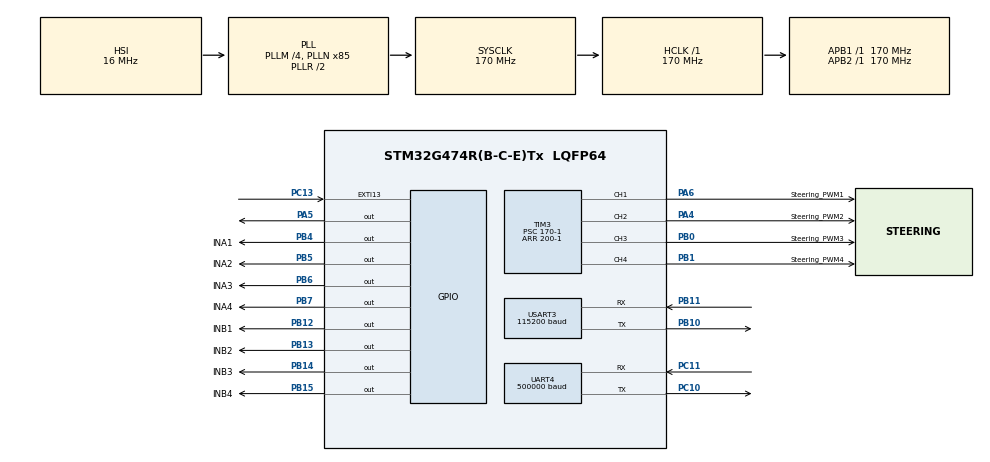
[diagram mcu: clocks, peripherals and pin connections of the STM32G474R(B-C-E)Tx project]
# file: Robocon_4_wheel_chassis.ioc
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Mcu.Family=STM32G4
Mcu.Name=STM32G474R(B-C-E)Tx
Mcu.Package=LQFP64
NUCLEO-G474RE.BUTTON=1
NUCLEO-G474RE.Bsp_Common_DEMO=true
NUCLEO-G474RE.LD2=true
NUCLEO-G474RE.VCP=true
NVIC.EXTI15_10_IRQn=true\:0\:0\:false\:false\:true\:true\:true\:true
NVIC.PriorityGroup=NVIC_PRIORITYGROUP_4
PA13.GPIO_Label=T_SWDIO
PA13.Signal=SYS_JTMS-SWDIO
PA14.GPIO_Label=T_SWCLK
PA14.Signal=SYS_JTCK-SWCLK
PA2.Signal=LPUART1_TX
PA3.Signal=LPUART1_RX
PA4.GPIO_Label=Steering_PWM2
PA4.Signal=S_TIM3_CH2
PA5.Signal=GPIO_Output
PA6.GPIO_Label=Steering_PWM1
PA6.Signal=S_TIM3_CH1
PB0.GPIO_Label=Steering_PWM3
PB0.Signal=S_TIM3_CH3
PB1.GPIO_Label=Steering_PWM4
PB1.Signal=S_TIM3_CH4
PB10.Mode=Asynchronous
PB10.Signal=USART3_TX
PB11.Mode=Asynchronous
PB11.Signal=USART3_RX
PB12.GPIO_Label=INB1
PB12.Signal=GPIO_Output
PB13.GPIO_Label=INB2
PB13.Signal=GPIO_Output
PB14.GPIO_Label=INB3
PB14.Signal=GPIO_Output
PB15.GPIO_Label=INB4
PB15.Signal=GPIO_Output
PB3.GPIO_Label=T_SWO
PB3.Signal=SYS_JTDO-SWO
PB4.GPIO_Label=INA1
PB4.Signal=GPIO_Output
PB5.GPIO_Label=INA2
PB5.Signal=GPIO_Output
PB6.GPIO_Label=INA3
PB6.Signal=GPIO_Output
PB7.GPIO_Label=INA4
PB7.Signal=GPIO_Output
PC10.Mode=Asynchronous
PC10.Signal=UART4_TX
PC11.Mode=Asynchronous
PC11.Signal=UART4_RX
PC13.Signal=GPXTI13
PC14-OSC32_IN.GPIO_Label=RCC_OSC32_IN
PC14-OSC32_IN.Signal=RCC_OSC32_IN
PC15-OSC32_OUT.GPIO_Label=RCC_OSC32_OUT
PC15-OSC32_OUT.Signal=RCC_OSC32_OUT
PF0-OSC_IN.GPIO_Label=RCC_OSC_IN
PF0-OSC_IN.Signal=RCC_OSC_IN
PF1-OSC_OUT.GPIO_Label=RCC_OSC_OUT
PF1-OSC_OUT.Signal=RCC_OSC_OUT
ProjectManager.HeapSize=0x200
ProjectManager.StackSize=0x400
ProjectManager.TargetToolchain=STM32CubeIDE
RCC.ADC12Freq_Value=170000000
RCC.ADC345Freq_Value=170000000
RCC.AHBFreq_Value=170000000
RCC.APB1Freq_Value=170000000
RCC.APB1TimFreq_Value=170000000
RCC.APB2Freq_Value=170000000
RCC.APB2TimFreq_Value=170000000
RCC.CortexFreq_Value=170000000
RCC.EXTERNAL_CLOCK_VALUE=12288000
RCC.HCLKFreq_Value=170000000
RCC.HSE_VALUE=24000000
RCC.HSI48_VALUE=48000000
RCC.HSI_VALUE=16000000
RCC.LSE_VALUE=32768
RCC.PLLM=RCC_PLLM_DIV4
RCC.PLLN=85
RCC.RTCClockSelection=RCC_RTCCLKSOURCE_LSE
RCC.SYSCLKFreq_VALUE=170000000
RCC.SYSCLKSource=RCC_SYSCLKSOURCE_PLLCLK
RCC.USBFreq_Value=170000000
RCC.VCOOutputFreq_Value=340000000
SH.S_TIM3_CH1.0=TIM3_CH1,PWM Generation1 CH1
SH.S_TIM3_CH2.0=TIM3_CH2,PWM Generation2 CH2
SH.S_TIM3_CH3.0=TIM3_CH3,PWM Generation3 CH3
SH.S_TIM3_CH4.0=TIM3_CH4,PWM Generation4 CH4
TIM3.Channel-PWM\ Generation1\ CH1=TIM_CHANNEL_1
TIM3.Channel-PWM\ Generation2\ CH2=TIM_CHANNEL_2
TIM3.Channel-PWM\ Generation3\ CH3=TIM_CHANNEL_3
TIM3.Channel-PWM\ Generation4\ CH4=TIM_CHANNEL_4
TIM3.PeriodNoDither=200-1
TIM3.Prescaler=170-1
UART4.BaudRate=500000
USART3.BaudRate=115200
USART3.VirtualMode-Asynchronous=VM_ASYNC
VP_NUCLEO-G474RE_VS_BSP_COMMON.Mode=COMMON
VP_SYS_VS_DBSignals.Mode=DisableDeadBatterySignals
VP_TIM3_VS_ClockSourceINT.Mode=Internal
board=NUCLEO-G474RE

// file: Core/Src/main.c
/* USER CODE BEGIN Header */
/**
  ******************************************************************************
  * @file           : main.c
  * @brief          : Main program body
  ******************************************************************************
  * @attention
  *
  * Copyright (c) 2025 STMicroelectronics.
  * All rights reserved.
  *
  * This software is licensed under terms that can be found in the LICENSE file
  * in the root directory of this software component.
  * If no LICENSE file comes with this software, it is provided AS-IS.
  *
  ******************************************************************************
  */
/* USER CODE END Header */
#include "main.h"

/* USER CODE BEGIN Includes */
#include "configuration.h"
#include "chassis_kinematics.h"
#include "joystick.h"
#include <stdbool.h>
#include <math.h>
/* USER CODE END Includes */

/* USER CODE BEGIN PD */
#define JOYSTICK_DEADZONE 0.2f      // Joystick deadzone threshold

#define SMOOTHING_FACTOR 0.4f    // Increased for faster response 0.6 bolgoj uzeh
#define MAX_ACCELERATION 0.15f   // Increased for faster acceleration 0.1 buulgaj uzeh
#define DECELERATION_FACTOR 0.3f // 0.2 bolgoj uzeh
/* USER CODE END PD */

COM_InitTypeDef BspCOMInit;
__IO uint32_t BspButtonState = BUTTON_RELEASED;
TIM_HandleTypeDef htim3;

UART_HandleTypeDef huart4;
UART_HandleTypeDef huart3;

/* USER CODE BEGIN PV */
float xSpeed = 0.0f, ySpeed = 0.0f, rot = 0.0f;
float target_xSpeed = 0.0f, target_ySpeed = 0.0f, target_rot = 0.0f;
float last_xSpeed = 0.0f, last_ySpeed = 0.0f, last_rot = 0.0f;
uint32_t lastJoystickUpdate = 0;
RobotVelocity robot_vel = {0};
WheelPWM wheel_pwm = {0};

bool lastButtonState = false;
bool buttonState = false;
/* USER CODE END PV */

void SystemClock_Config(void);
static void MX_GPIO_Init(void);
static void MX_TIM3_Init(void);
static void MX_UART4_Init(void);
static void MX_USART3_UART_Init(void);
/* USER CODE BEGIN PFP */
float smoothValue(float current, float target, float smoothing, float maxAccel);
/* USER CODE END PFP */

int main(void)
{

  /* MCU Configuration--------------------------------------------------------*/

  /* Reset of all peripherals, Initializes the Flash interface and the Systick. */
  HAL_Init();

  /* USER CODE BEGIN Init */
  JOYSTICK_Init(&huart4);  // Pass your UART handle
  JOYSTICK_SetTimeout(100); // Optional: Set custom timeout
  /* USER CODE END Init */

  /* Configure the system clock */
  SystemClock_Config();

  /* Initialize all configured peripherals */
  MX_GPIO_Init();
  MX_TIM3_Init();
  MX_UART4_Init();
  MX_USART3_UART_Init();
  /* USER CODE BEGIN 2 */
  HAL_TIM_PWM_Start(&htim3, TIM_CHANNEL_1);
  HAL_TIM_PWM_Start(&htim3, TIM_CHANNEL_2);
  HAL_TIM_PWM_Start(&htim3, TIM_CHANNEL_3);
  HAL_TIM_PWM_Start(&htim3, TIM_CHANNEL_4);
  /* USER CODE END 2 */

  /* Initialize led */
  BSP_LED_Init(LED_GREEN);

  /* Initialize USER push-button, will be used to trigger an interrupt each time it's pressed.*/
  BSP_PB_Init(BUTTON_USER, BUTTON_MODE_EXTI);

  /* Initialize COM1 port (115200, 8 bits (7-bit data + 1 stop bit), no parity */
  BspCOMInit.BaudRate   = 115200;
  BspCOMInit.WordLength = COM_WORDLENGTH_8B;
  BspCOMInit.StopBits   = COM_STOPBITS_1;
  BspCOMInit.Parity     = COM_PARITY_NONE;
  BspCOMInit.HwFlowCtl  = COM_HWCONTROL_NONE;
  if (BSP_COM_Init(COM1, &BspCOMInit) != BSP_ERROR_NONE)
  {
    Error_Handler();
  }

  /* USER CODE BEGIN BSP */

  /* -- Sample board code to send message over COM1 port ---- */
  printf("Robocon Subsystem_1 4 Wheel Chassis Initialized\n\r");

  /* -- Sample board code to switch on led ---- */
  BSP_LED_On(LED_GREEN);

  /* USER CODE END BSP */

  /* Infinite loop */
  /* USER CODE BEGIN WHILE */
  while (1)
  {

    /* -- Sample board code for User push-button in interrupt mode ---- */
    if (BspButtonState == BUTTON_PRESSED)
    {
      /* Update button state */
      BspButtonState = BUTTON_RELEASED;
      /* -- Sample board code to toggle led ---- */
      BSP_LED_Toggle(LED_GREEN);

      /* ..... Perform your action ..... */
    }

    JOYSTICK_Process();

    // Check for joystick timeout or invalid data
    if (HAL_GetTick() - lastJoystickUpdate > JOYSTICK_TIMEOUT_MS) {
        // Gradually reduce speed when joystick times out
        target_xSpeed = 0.0f;
        target_ySpeed = 0.0f;
        target_rot = 0.0f;

        // Apply brake if no valid data for extended period
        if (HAL_GetTick() - lastJoystickUpdate > JOYSTICK_TIMEOUT_MS * 2) {
            applyBrake();
        }
    }
    // Normal joystick control code
    else if (JOYSTICK_NewDataAvailable()) {
        JoystickData data = JOYSTICK_GetData();
        lastJoystickUpdate = HAL_GetTick();

        // Scale joystick inputs to [-1, 1] range
        target_xSpeed = -(float)data.axisX / 512.0f;
        target_ySpeed = (float)data.axisY / 512.0f;
        target_rot = -(float)data.axisRX / 512.0f;

        // Apply deadzone
        if (fabsf(target_xSpeed) < JOYSTICK_DEADZONE) target_xSpeed = 0;
        if (fabsf(target_ySpeed) < JOYSTICK_DEADZONE) target_ySpeed = 0;
        if (fabsf(target_rot) < JOYSTICK_DEADZONE) target_rot = 0;

//        // Assume we toggle using button bit 0.
//        bool currentButtonState = (data.buttons & 0x0010) != 0;
//
//        // Detect rising edge: current is pressed and last was not.
//        if (currentButtonState && !lastButtonState && !buttonState) {  // Only allow new operation if not already in progress
//        	buttonState = true;  // Set state immediately to prevent re-entry
//
//            buttonState = false;  // Reset state after operation complete
//        } else {
//        }
//
//        // Update last button state for edge detection
//        lastButtonState = currentButtonState;
    }

    // Smooth the speed changes
    xSpeed = smoothValue(xSpeed, target_xSpeed, SMOOTHING_FACTOR, MAX_ACCELERATION);
    ySpeed = smoothValue(ySpeed, target_ySpeed, SMOOTHING_FACTOR, MAX_ACCELERATION);
    rot = smoothValue(rot, target_rot, SMOOTHING_FACTOR, MAX_ACCELERATION);

    // Set robot velocity
    robot_vel.vx = rot;
    robot_vel.vy = ySpeed;
    robot_vel.omega = xSpeed;

    // Calculate and set PWM values
    calculateWheelPWM(&robot_vel, &wheel_pwm);
//    setMotorPWM(&wheel_pwm);

    HAL_Delay(10);  // Control loop delay
    /* USER CODE END WHILE */

  }
}

void SystemClock_Config(void)
{
  RCC_OscInitTypeDef RCC_OscInitStruct = {0};
  RCC_ClkInitTypeDef RCC_ClkInitStruct = {0};

  /** Configure the main internal regulator output voltage
  */
  HAL_PWREx_ControlVoltageScaling(PWR_REGULATOR_VOLTAGE_SCALE1_BOOST);

  /** Initializes the RCC Oscillators according to the specified parameters
  * in the RCC_OscInitTypeDef structure.
  */
  RCC_OscInitStruct.OscillatorType = RCC_OSCILLATORTYPE_HSI;
  RCC_OscInitStruct.HSIState = RCC_HSI_ON;
  RCC_OscInitStruct.HSICalibrationValue = RCC_HSICALIBRATION_DEFAULT;
  RCC_OscInitStruct.PLL.PLLState = RCC_PLL_ON;
  RCC_OscInitStruct.PLL.PLLSource = RCC_PLLSOURCE_HSI;
  RCC_OscInitStruct.PLL.PLLM = RCC_PLLM_DIV4;
  RCC_OscInitStruct.PLL.PLLN = 85;
  RCC_OscInitStruct.PLL.PLLP = RCC_PLLP_DIV2;
  RCC_OscInitStruct.PLL.PLLQ = RCC_PLLQ_DIV2;
  RCC_OscInitStruct.PLL.PLLR = RCC_PLLR_DIV2;
  if (HAL_RCC_OscConfig(&RCC_OscInitStruct) != HAL_OK)
  {
    Error_Handler();
  }

  /** Initializes the CPU, AHB and APB buses clocks
  */
  RCC_ClkInitStruct.ClockType = RCC_CLOCKTYPE_HCLK|RCC_CLOCKTYPE_SYSCLK
                              |RCC_CLOCKTYPE_PCLK1|RCC_CLOCKTYPE_PCLK2;
  RCC_ClkInitStruct.SYSCLKSource = RCC_SYSCLKSOURCE_PLLCLK;
  RCC_ClkInitStruct.AHBCLKDivider = RCC_SYSCLK_DIV1;
  RCC_ClkInitStruct.APB1CLKDivider = RCC_HCLK_DIV1;
  RCC_ClkInitStruct.APB2CLKDivider = RCC_HCLK_DIV1;

  if (HAL_RCC_ClockConfig(&RCC_ClkInitStruct, FLASH_LATENCY_4) != HAL_OK)
  {
    Error_Handler();
  }
}

static void MX_TIM3_Init(void)
{

  TIM_ClockConfigTypeDef sClockSourceConfig = {0};
  TIM_MasterConfigTypeDef sMasterConfig = {0};
  TIM_OC_InitTypeDef sConfigOC = {0};

  htim3.Instance = TIM3;
  htim3.Init.Prescaler = 170-1;
  htim3.Init.CounterMode = TIM_COUNTERMODE_UP;
  htim3.Init.Period = 199;
  htim3.Init.ClockDivision = TIM_CLOCKDIVISION_DIV1;
  htim3.Init.AutoReloadPreload = TIM_AUTORELOAD_PRELOAD_DISABLE;
  if (HAL_TIM_Base_Init(&htim3) != HAL_OK)
  {
    Error_Handler();
  }
  sClockSourceConfig.ClockSource = TIM_CLOCKSOURCE_INTERNAL;
  if (HAL_TIM_ConfigClockSource(&htim3, &sClockSourceConfig) != HAL_OK)
  {
    Error_Handler();
  }
  if (HAL_TIM_PWM_Init(&htim3) != HAL_OK)
  {
    Error_Handler();
  }
  sMasterConfig.MasterOutputTrigger = TIM_TRGO_RESET;
  sMasterConfig.MasterSlaveMode = TIM_MASTERSLAVEMODE_DISABLE;
  if (HAL_TIMEx_MasterConfigSynchronization(&htim3, &sMasterConfig) != HAL_OK)
  {
    Error_Handler();
  }
  sConfigOC.OCMode = TIM_OCMODE_PWM1;
  sConfigOC.Pulse = 0;
  sConfigOC.OCPolarity = TIM_OCPOLARITY_HIGH;
  sConfigOC.OCFastMode = TIM_OCFAST_DISABLE;
  if (HAL_TIM_PWM_ConfigChannel(&htim3, &sConfigOC, TIM_CHANNEL_1) != HAL_OK)
  {
    Error_Handler();
  }
  if (HAL_TIM_PWM_ConfigChannel(&htim3, &sConfigOC, TIM_CHANNEL_2) != HAL_OK)
  {
    Error_Handler();
  }
  if (HAL_TIM_PWM_ConfigChannel(&htim3, &sConfigOC, TIM_CHANNEL_3) != HAL_OK)
  {
    Error_Handler();
  }
  if (HAL_TIM_PWM_ConfigChannel(&htim3, &sConfigOC, TIM_CHANNEL_4) != HAL_OK)
  {
    Error_Handler();
  }
  HAL_TIM_MspPostInit(&htim3);

}

static void MX_UART4_Init(void)
{

  huart4.Instance = UART4;
  huart4.Init.BaudRate = 500000;
  huart4.Init.WordLength = UART_WORDLENGTH_8B;
  huart4.Init.StopBits = UART_STOPBITS_1;
  huart4.Init.Parity = UART_PARITY_NONE;
  huart4.Init.Mode = UART_MODE_TX_RX;
  huart4.Init.HwFlowCtl = UART_HWCONTROL_NONE;
  huart4.Init.OverSampling = UART_OVERSAMPLING_16;
  huart4.Init.OneBitSampling = UART_ONE_BIT_SAMPLE_DISABLE;
  huart4.Init.ClockPrescaler = UART_PRESCALER_DIV1;
  huart4.AdvancedInit.AdvFeatureInit = UART_ADVFEATURE_NO_INIT;
  if (HAL_UART_Init(&huart4) != HAL_OK)
  {
    Error_Handler();
  }
  if (HAL_UARTEx_SetTxFifoThreshold(&huart4, UART_TXFIFO_THRESHOLD_1_8) != HAL_OK)
  {
    Error_Handler();
  }
  if (HAL_UARTEx_SetRxFifoThreshold(&huart4, UART_RXFIFO_THRESHOLD_1_8) != HAL_OK)
  {
    Error_Handler();
  }
  if (HAL_UARTEx_DisableFifoMode(&huart4) != HAL_OK)
  {
    Error_Handler();
  }

}

static void MX_USART3_UART_Init(void)
{

  huart3.Instance = USART3;
  huart3.Init.BaudRate = 115200;
  huart3.Init.WordLength = UART_WORDLENGTH_8B;
  huart3.Init.StopBits = UART_STOPBITS_1;
  huart3.Init.Parity = UART_PARITY_NONE;
  huart3.Init.Mode = UART_MODE_TX_RX;
  huart3.Init.HwFlowCtl = UART_HWCONTROL_NONE;
  huart3.Init.OverSampling = UART_OVERSAMPLING_16;
  huart3.Init.OneBitSampling = UART_ONE_BIT_SAMPLE_DISABLE;
  huart3.Init.ClockPrescaler = UART_PRESCALER_DIV1;
  huart3.AdvancedInit.AdvFeatureInit = UART_ADVFEATURE_NO_INIT;
  if (HAL_UART_Init(&huart3) != HAL_OK)
  {
    Error_Handler();
  }
  if (HAL_UARTEx_SetTxFifoThreshold(&huart3, UART_TXFIFO_THRESHOLD_1_8) != HAL_OK)
  {
    Error_Handler();
  }
  if (HAL_UARTEx_SetRxFifoThreshold(&huart3, UART_RXFIFO_THRESHOLD_1_8) != HAL_OK)
  {
    Error_Handler();
  }
  if (HAL_UARTEx_DisableFifoMode(&huart3) != HAL_OK)
  {
    Error_Handler();
  }

}

static void MX_GPIO_Init(void)
{
  GPIO_InitTypeDef GPIO_InitStruct = {0};

  /* GPIO Ports Clock Enable */
  __HAL_RCC_GPIOC_CLK_ENABLE();
  __HAL_RCC_GPIOF_CLK_ENABLE();
  __HAL_RCC_GPIOA_CLK_ENABLE();
  __HAL_RCC_GPIOB_CLK_ENABLE();

  /*Configure GPIO pin Output Level */
  HAL_GPIO_WritePin(GPIOB, INB1_Pin|INB2_Pin|INB3_Pin|INB4_Pin
                          |INA1_Pin|INA2_Pin|INA3_Pin|INA4_Pin, GPIO_PIN_RESET);

  /*Configure GPIO pins : INB1_Pin INB2_Pin INB3_Pin INB4_Pin
                           INA1_Pin INA2_Pin INA3_Pin INA4_Pin */
  GPIO_InitStruct.Pin = INB1_Pin|INB2_Pin|INB3_Pin|INB4_Pin
                          |INA1_Pin|INA2_Pin|INA3_Pin|INA4_Pin;
  GPIO_InitStruct.Mode = GPIO_MODE_OUTPUT_PP;
  GPIO_InitStruct.Pull = GPIO_NOPULL;
  GPIO_InitStruct.Speed = GPIO_SPEED_FREQ_LOW;
  HAL_GPIO_Init(GPIOB, &GPIO_InitStruct);

}

/* USER CODE BEGIN 4 */
float smoothValue(float current, float target, float smoothing, float maxAccel) {
    float difference = target - current;

    // Different handling for acceleration and deceleration
    if (fabsf(target) < fabsf(current)) {
        // Decelerating - use different factor
        difference *= DECELERATION_FACTOR;
    }

    // Limit the maximum change
    if (difference > maxAccel) difference = maxAccel;
    if (difference < -maxAccel) difference = -maxAccel;

    // Apply smoothing with exponential curve
    float smoothed = current + (difference * smoothing);

    // Add small deadzone near zero
    if (fabsf(smoothed) < 0.02f && fabsf(target) < 0.02f) {
        smoothed = 0.0f;
    }

    return smoothed;
}
/* USER CODE END 4 */

/**
  * @brief BSP Push Button callback
  * @param Button Specifies the pressed button
  * @retval None
  */
void BSP_PB_Callback(Button_TypeDef Button)
{
  if (Button == BUTTON_USER)
  {
    BspButtonState = BUTTON_PRESSED;
  }
}

void Error_Handler(void)
{
  __disable_irq();
  while (1)
  {
  }
}
